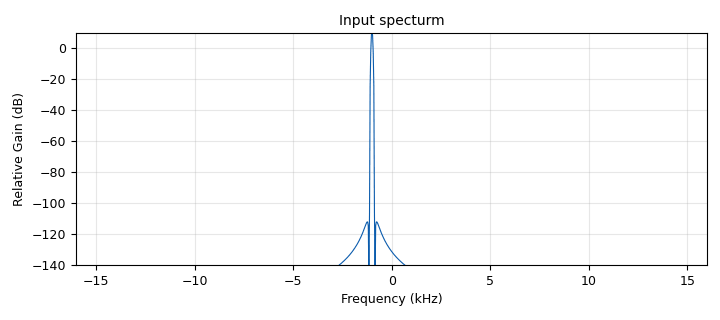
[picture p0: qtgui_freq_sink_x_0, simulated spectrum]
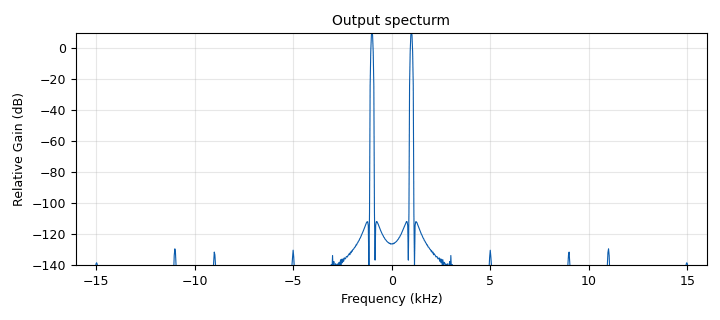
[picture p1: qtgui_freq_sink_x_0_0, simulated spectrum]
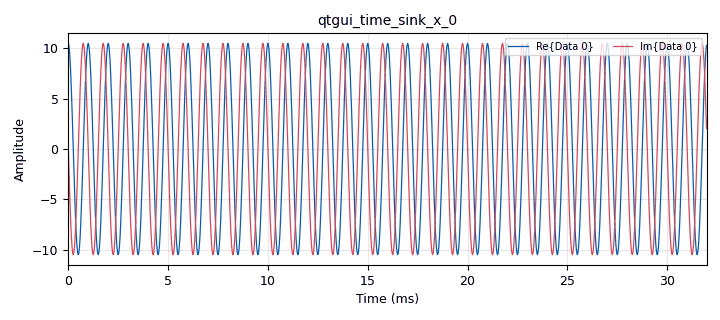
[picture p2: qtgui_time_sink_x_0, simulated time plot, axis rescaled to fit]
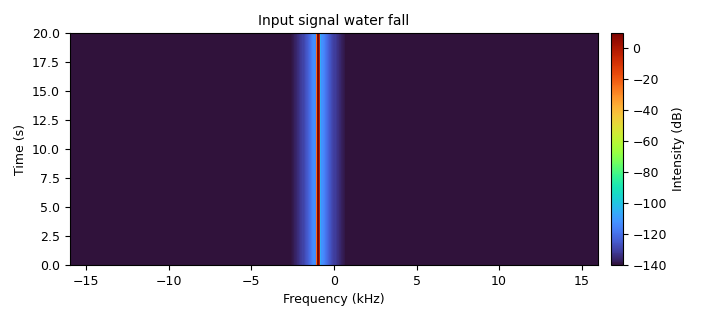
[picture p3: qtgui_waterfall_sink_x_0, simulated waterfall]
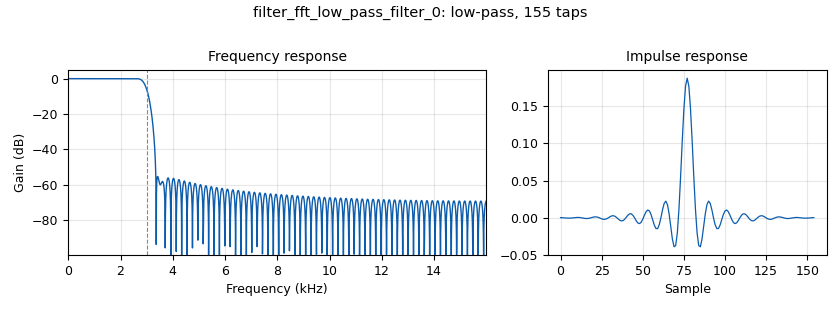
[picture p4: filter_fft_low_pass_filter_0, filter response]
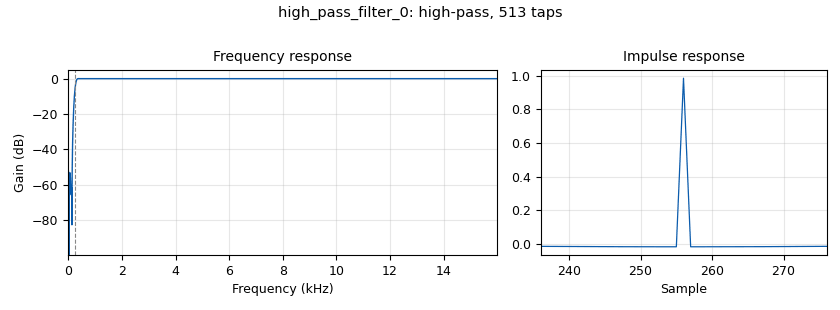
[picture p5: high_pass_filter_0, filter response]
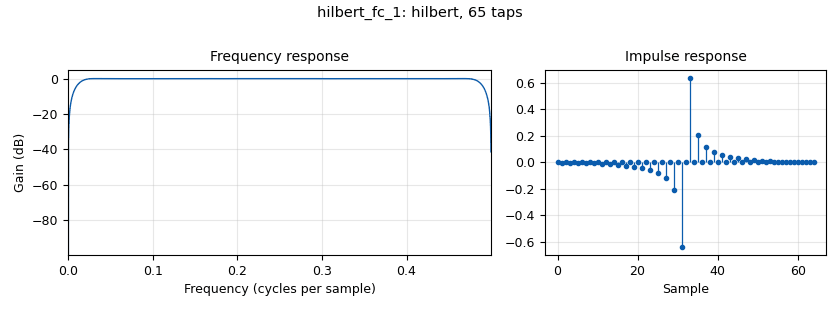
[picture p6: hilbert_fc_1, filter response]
options:
  parameters:
    author: aminmahjoub
    generate_options: qt_gui
    id: ssb_phasing
    output_language: python
    title: Not titled yet
  states: {}

blocks:
- name: audio_sample
  id: variable
  parameters:
    value: '48000'
  states: {}
- name: input_gain
  id: variable_qtgui_range
  parameters:
    label: Input Gain
    start: '-300'
    step: '0.1'
    stop: '10'
    value: '-300'
  states: {}
- name: samp_rate
  id: variable
  parameters:
    value: '32000'
  states: {}
- name: samp_rate_0
  id: variable
  parameters:
    value: '24000'
  states: {}
- name: samp_rate_0_0
  id: variable
  parameters:
    value: '24000'
  states: {}
- name: test_f
  id: variable_qtgui_range
  parameters:
    start: '-5000'
    step: '100'
    stop: '5000'
    value: '-1000'
  states: {}
- name: volume
  id: variable_qtgui_range
  parameters:
    label: Volume
    start: '-100'
    step: '0.1'
    stop: '10'
    value: '-6'
  states: {}
- name: analog_sig_source_x_0
  id: analog_sig_source_x
  parameters:
    amp: '10.5'
    freq: test_f
    offset: '0'
    phase: '0'
    samp_rate: samp_rate
    type: complex
    waveform: analog.GR_COS_WAVE
  states: {}
- name: audio_sink_0
  id: audio_sink
  parameters:
    samp_rate: audio_sample
  states: {}
- name: blocks_add_xx_1
  id: blocks_add_xx
  parameters:
    type: float
  states: {}
- name: blocks_complex_to_imag_0
  id: blocks_complex_to_imag
  parameters: {}
  states: {}
- name: blocks_complex_to_imag_0_0
  id: blocks_complex_to_imag
  parameters: {}
  states: {}
- name: blocks_complex_to_real_2
  id: blocks_complex_to_real
  parameters: {}
  states: {}
- name: blocks_delay_0
  id: blocks_delay
  parameters:
    delay: '32'
    type: float
  states: {}
- name: blocks_multiply_const_vxx_0
  id: blocks_multiply_const_vxx
  parameters:
    const: '1'
    type: float
  states: {}
- name: filter_fft_low_pass_filter_0
  id: filter_fft_low_pass_filter
  parameters:
    cutoff_freq: '3000'
    decim: '1'
    gain: '1'
    samp_rate: samp_rate
    type: fff
    width: '500'
    win: window.WIN_HAMMING
  states: {}
- name: filter_fft_low_pass_filter_0_0
  id: filter_fft_low_pass_filter
  parameters:
    cutoff_freq: '3000'
    decim: '1'
    gain: '1'
    samp_rate: samp_rate
    type: fff
    width: '500'
    win: window.WIN_HAMMING
  states: {}
- name: high_pass_filter_0
  id: high_pass_filter
  parameters:
    comment: Zero-IF puts the board's DC offset and 1/f noise at 0 Hz audio.
    cutoff_freq: '250'
    gain: '1'
    interp: '1'
    samp_rate: samp_rate
    type: interp_fir_filter_fff
    width: '150'
    win: window.WIN_HAMMING
  states: {}
- name: hilbert_fc_1
  id: hilbert_fc
  parameters:
    num_taps: '65'
  states: {}
- name: qtgui_freq_sink_x_0
  id: qtgui_freq_sink_x
  parameters:
    bw: samp_rate
    fc: '0'
    fftsize: '1024'
    name: Input specturm
    type: complex
  states: {}
- name: qtgui_freq_sink_x_0_0
  id: qtgui_freq_sink_x
  parameters:
    bw: samp_rate
    fc: '0'
    fftsize: '1024'
    name: Output specturm
    type: float
  states: {}
- name: qtgui_time_sink_x_0
  id: qtgui_time_sink_x
  parameters:
    size: '1024'
    srate: samp_rate
    type: complex
  states: {}
- name: qtgui_waterfall_sink_x_0
  id: qtgui_waterfall_sink_x
  parameters:
    bw: 32e3
    fc: '0'
    fftsize: '1024'
    grid: 'True'
    name: Input signal water fall
    type: complex
  states: {}
- name: rational_resampler_xxx_0
  id: rational_resampler_xxx
  parameters:
    decim: '1'
    interp: '2'
    type: fff
  states: {}

connections:
- [analog_sig_source_x_0, '0', blocks_complex_to_imag_0, '0']
- [analog_sig_source_x_0, '0', blocks_complex_to_real_2, '0']
- [analog_sig_source_x_0, '0', qtgui_freq_sink_x_0, '0']
- [analog_sig_source_x_0, '0', qtgui_time_sink_x_0, '0']
- [analog_sig_source_x_0, '0', qtgui_waterfall_sink_x_0, '0']
- [blocks_add_xx_1, '0', high_pass_filter_0, '0']
- [blocks_complex_to_imag_0, '0', filter_fft_low_pass_filter_0_0, '0']
- [blocks_complex_to_imag_0_0, '0', blocks_add_xx_1, '1']
- [blocks_complex_to_real_2, '0', filter_fft_low_pass_filter_0, '0']
- [blocks_delay_0, '0', blocks_add_xx_1, '0']
- [blocks_multiply_const_vxx_0, '0', qtgui_freq_sink_x_0_0, '0']
- [blocks_multiply_const_vxx_0, '0', rational_resampler_xxx_0, '0']
- [filter_fft_low_pass_filter_0, '0', blocks_delay_0, '0']
- [filter_fft_low_pass_filter_0_0, '0', hilbert_fc_1, '0']
- [high_pass_filter_0, '0', blocks_multiply_const_vxx_0, '0']
- [hilbert_fc_1, '0', blocks_complex_to_imag_0_0, '0']
- [rational_resampler_xxx_0, '0', audio_sink_0, '0']

metadata:
  file_format: 1
  grc_version: 3.10.12.0
